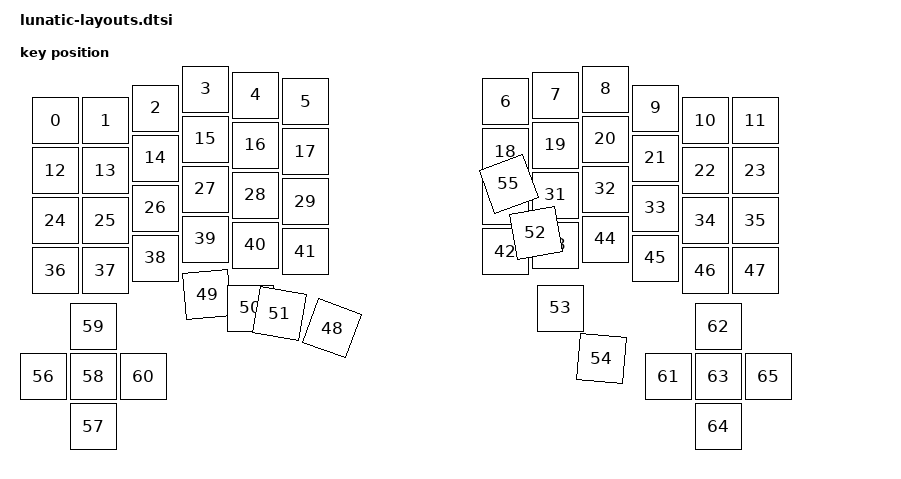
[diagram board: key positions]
#include <physical_layouts.dtsi>

/ {
    physical_layout: physical_layout_0 {
        compatible = "zmk,physical-layout";
        display-name = "lunatic";

        // kscan = <&kscan0>;
        // transform = <&matrix_transform0>;

        studio-config {
        compatible = "zmk,studio-config";
        };

        keys  //                     w   h    x    y     rot    rx    ry
            = <&key_physical_attrs 100 100   25   63       0     0     0>
            , <&key_physical_attrs 100 100  125   63       0     0     0>
            , <&key_physical_attrs 100 100  225   38       0     0     0>
            , <&key_physical_attrs 100 100  325    0       0     0     0>
            , <&key_physical_attrs 100 100  425   12       0     0     0>
            , <&key_physical_attrs 100 100  525   25       0     0     0>
            , <&key_physical_attrs 100 100  925   25       0     0     0>
            , <&key_physical_attrs 100 100 1025   12       0     0     0>
            , <&key_physical_attrs 100 100 1125    0       0     0     0>
            , <&key_physical_attrs 100 100 1225   38       0     0     0>
            , <&key_physical_attrs 100 100 1325   63       0     0     0>
            , <&key_physical_attrs 100 100 1425   63       0     0     0>
            , <&key_physical_attrs 100 100   25  163       0     0     0>
            , <&key_physical_attrs 100 100  125  163       0     0     0>
            , <&key_physical_attrs 100 100  225  138       0     0     0>
            , <&key_physical_attrs 100 100  325  100       0     0     0>
            , <&key_physical_attrs 100 100  425  112       0     0     0>
            , <&key_physical_attrs 100 100  525  125       0     0     0>
            , <&key_physical_attrs 100 100  925  125       0     0     0>
            , <&key_physical_attrs 100 100 1025  112       0     0     0>
            , <&key_physical_attrs 100 100 1125  100       0     0     0>
            , <&key_physical_attrs 100 100 1225  138       0     0     0>
            , <&key_physical_attrs 100 100 1325  163       0     0     0>
            , <&key_physical_attrs 100 100 1425  163       0     0     0>
            , <&key_physical_attrs 100 100   25  263       0     0     0>
            , <&key_physical_attrs 100 100  125  263       0     0     0>
            , <&key_physical_attrs 100 100  225  238       0     0     0>
            , <&key_physical_attrs 100 100  325  200       0     0     0>
            , <&key_physical_attrs 100 100  425  212       0     0     0>
            , <&key_physical_attrs 100 100  525  225       0     0     0>
            , <&key_physical_attrs 100 100  925  225       0     0     0>
            , <&key_physical_attrs 100 100 1025  212       0     0     0>
            , <&key_physical_attrs 100 100 1125  200       0     0     0>
            , <&key_physical_attrs 100 100 1225  238       0     0     0>
            , <&key_physical_attrs 100 100 1325  263       0     0     0>
            , <&key_physical_attrs 100 100 1425  263       0     0     0>
            , <&key_physical_attrs 100 100   25  363       0     0     0>
            , <&key_physical_attrs 100 100  125  363       0     0     0>
            , <&key_physical_attrs 100 100  225  338       0     0     0>
            , <&key_physical_attrs 100 100  325  300       0     0     0>
            , <&key_physical_attrs 100 100  425  312       0     0     0>
            , <&key_physical_attrs 100 100  525  325       0     0     0>
            , <&key_physical_attrs 100 100  925  325       0     0     0>
            , <&key_physical_attrs 100 100 1025  312       0     0     0>
            , <&key_physical_attrs 100 100 1125  300       0     0     0>
            , <&key_physical_attrs 100 100 1225  338       0     0     0>
            , <&key_physical_attrs 100 100 1325  363       0     0     0>
            , <&key_physical_attrs 100 100 1425  363       0     0     0>
            , <&key_physical_attrs 100 100  715  198    2000 (-100)     0>
            , <&key_physical_attrs 100 100  286  443   35495     0     0>
            , <&key_physical_attrs 100 100  415  438       0     0     0>
            , <&key_physical_attrs 100 100  550  333    1000 (-100)     0>
            , <&key_physical_attrs 100 100  911  463 (-1000)     0     0>
            , <&key_physical_attrs 100 100 1035  438       0     0     0>
            , <&key_physical_attrs 100 100 1164  434 (-35495)     0     0>
            , <&key_physical_attrs 100 100  790  511 (-2000)     0     0>
            , <&key_physical_attrs 100 100    0  575       0     0     0>
            , <&key_physical_attrs 100 100  100  675       0     0     0>
            , <&key_physical_attrs 100 100  100  575       0     0     0>
            , <&key_physical_attrs 100 100  100  475       0     0     0>
            , <&key_physical_attrs 100 100  200  575       0     0     0>
            , <&key_physical_attrs 100 100 1250  575       0     0     0>
            , <&key_physical_attrs 100 100 1350  475       0     0     0>
            , <&key_physical_attrs 100 100 1350  575       0     0     0>
            , <&key_physical_attrs 100 100 1350  675       0     0     0>
            , <&key_physical_attrs 100 100 1450  575       0     0     0>
            ;    };
};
